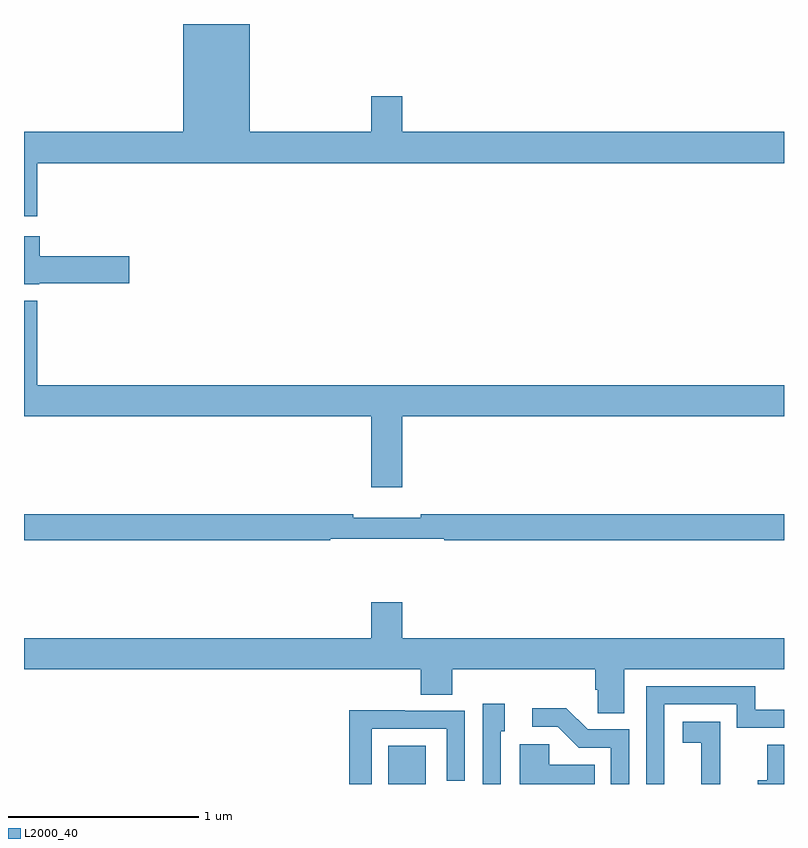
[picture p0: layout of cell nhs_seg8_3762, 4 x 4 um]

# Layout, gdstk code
import gdstk
lib = gdstk.Library(unit=1e-6, precision=1e-09)
def R(c, l, rs):  # rectangles x0, y0, x1, y1
    for r in rs: c.add(gdstk.rectangle(r[:2], r[2:], *l))
def P(c, l, *ps):  # polygons
    for p in ps: c.add(gdstk.Polygon(p, *l))
L2000_40 = (2000, 40)

nhs_seg8_3762 = lib.new_cell('nhs_seg8_3762')
R(nhs_seg8_3762, L2000_40, [(344.918,1111.9,345.115,1112.101)])
P(nhs_seg8_3762, L2000_40, [(343.069,1115.168),(347,1115.168),(347,1115.332),(344.992,1115.332),(344.992,1115.521),(344.828,1115.521),(344.828,1115.332),(344.188,1115.332),(344.188,1115.9),(343.838,1115.9),(343.838,1115.332),(343,1115.332),(343,1114.887),(343.069,1114.887)],
  [(343.08,1114.535),(343.555,1114.535),(343.555,1114.677),(343.084,1114.677),(343.084,1114.783),(343,1114.783),(343,1114.529),(343.08,1114.529)],
  [(344.992,1113.836),(347,1113.836),(347,1114),(343.069,1114),(343.069,1114.444),(343,1114.444),(343,1113.836),(344.828,1113.836),(344.828,1113.462),(344.992,1113.462)],
  [(344.612,1113.192),(345.212,1113.192),(345.212,1113.184),(347,1113.184),(347,1113.32),(345.088,1113.32),(345.088,1113.301),(344.732,1113.301),(344.732,1113.32),(343,1113.32),(343,1113.184),(344.612,1113.184)],
  [(346.159,1112.504),(347,1112.504),(347,1112.668),(344.992,1112.668),(344.992,1112.857),(344.828,1112.857),(344.828,1112.668),(343,1112.668),(343,1112.504),(345.089,1112.504),(345.089,1112.371),(345.254,1112.371),(345.254,1112.504),(346.007,1112.504),(346.007,1112.395),(346.02,1112.395),(346.02,1112.272),(346.159,1112.272)],
  [(346.371,1112.319),(346.752,1112.319),(346.752,1112.196),(347,1112.196),(347,1112.292),(346.849,1112.292),(346.849,1112.415),(346.275,1112.415),(346.275,1111.9),(346.371,1111.9)],
  [(345.51,1112.178),(345.529,1112.178),(345.529,1112.323),(345.414,1112.323),(345.414,1111.9),(345.51,1111.9)],
  [(346.185,1112.187),(345.966,1112.187),(345.853,1112.3),(345.675,1112.3),(345.675,1112.202),(345.809,1112.202),(345.92,1112.091),(346.089,1112.091),(346.089,1111.9),(346.185,1111.9)],
  [(344.829,1112.19),(345.225,1112.19),(345.225,1111.917),(345.321,1111.917),(345.321,1112.286),(345.005,1112.286),(345.005,1112.288),(344.713,1112.288),(344.713,1111.9),(344.829,1111.9)],
  [(346.664,1112.021),(346.665,1112.021),(346.665,1112.227),(346.467,1112.227),(346.467,1112.117),(346.565,1112.117),(346.565,1111.9),(346.664,1111.9)],
  [(346.004,1112.002),(345.765,1112.002),(345.765,1112.11),(345.608,1112.11),(345.608,1111.9),(346.004,1111.9)],
  [(347,1112.106),(346.912,1112.106),(346.912,1111.921),(346.863,1111.921),(346.863,1111.9),(347,1111.9)])

lib.write_gds('nhs_seg8_3762.gds')
